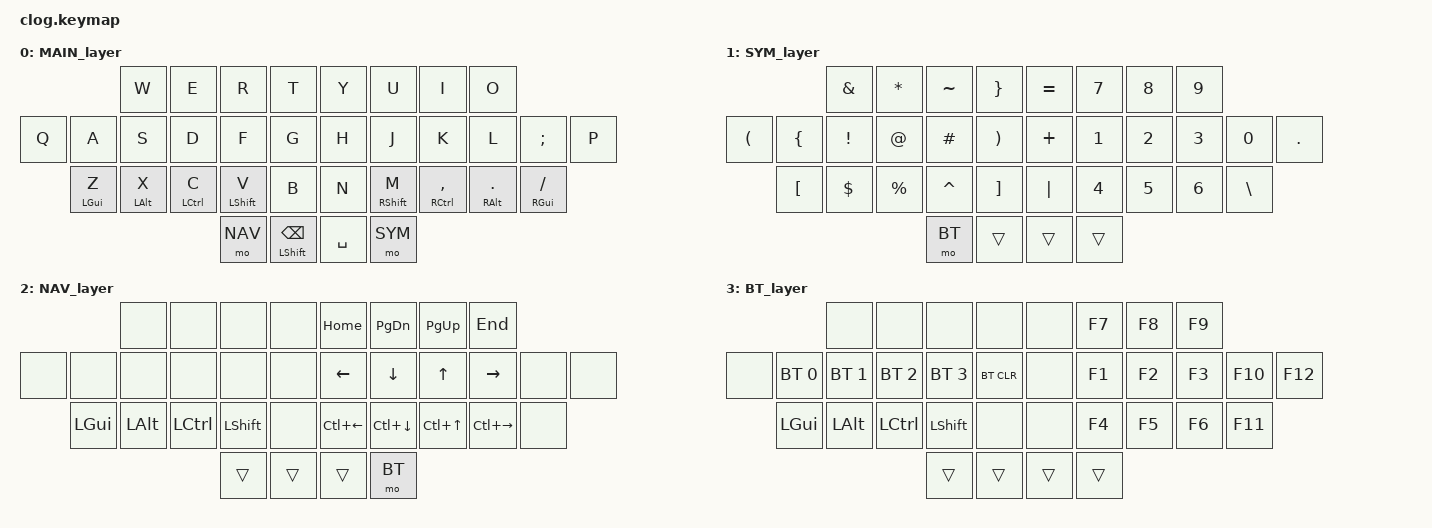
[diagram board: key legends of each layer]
/*
* Copyright (c) 2022 The ZMK Contributors
*
* SPDX-License-Identifier: MIT
*/

#include <behaviors.dtsi>
#include <dt-bindings/zmk/keys.h>
#include <dt-bindings/zmk/bt.h>

#define MAIN 0
#define SYM 1
#define NAV 2
#define BT 3

&mt {
    flavor = "tap-preferred";
    tapping-term-ms = <140>;
};
/ {
    combos {
        compatible = "zmk,combos";

        // LEFT CENTER ROW
        enter {
            timeout-ms = <40>;
            key-positions = <11 12>;
            bindings = <&kp ENTER>;
        };
        esc {
            timeout-ms = <40>;
            key-positions = <10 12>;
            bindings = <&kp ESC>;
        };
        tab {
            timeout-ms = <40>;
            key-positions = <10 11>;
            bindings = <&kp TAB>;
        };
        del {
            timeout-ms = <40>;
            key-positions = <10 11 12>;
            bindings = <&kp ESC>;
        };


        // RIGHT CENTER ROW
        dash {
            timeout-ms = <40>;
            key-positions = <15 16>;
            bindings = <&kp MINUS>;
        };
        underscore {
            timeout-ms = <40>;
            key-positions = <15 17>;
            bindings = <&kp UNDERSCORE>;
        };
        backspace {
            timeout-ms = <40>;
            key-positions = <15 16 17>;
            bindings = <&kp BACKSPACE>;
        };

        single_quote {
            timeout-ms = <40>;
            key-positions = <17 18>;
            bindings = <&kp SQT>;
        };
        double_quote {
            timeout-ms = <40>;
            key-positions = <16 18>;
            bindings = <&kp DQT>;
        };

        grave {
            timeout-ms = <40>;
            key-positions = <28 29>;
            bindings = <&kp GRAVE>;
        };

	// MOD COMBOS - 9 10 11 12 +31 activator
	// LEFT HAND
        l_gui {
            timeout-ms = <40>;
            key-positions = <9 31>;
            bindings = <&kp LGUI>;
        };
        l_alt {
            timeout-ms = <40>;
            key-positions = <10 31>;
            bindings = <&kp LALT>;
        };
        l_ctl {
            timeout-ms = <25>;
            key-positions = <11 31>;
            bindings = <&kp LCTRL>;
        };
        l_shift {
            timeout-ms = <40>;
            key-positions = <12 31>;
            bindings = <&kp LSHIFT>;
        };
	// 2 mod keys
        l_gui_alt {
            timeout-ms = <40>;
            key-positions = <9 10 31>;
            bindings = <&kp LG(LALT)>;
        };
        l_gui_ctl {
            timeout-ms = <40>;
            key-positions = <9 11 31>;
            bindings = <&kp LG(LCTRL)>;
        };
        l_gui_sft {
            timeout-ms = <40>;
            key-positions = <9 12 31>;
            bindings = <&kp LG(LSHIFT)>;
        };
        l_alt_ctl {
            timeout-ms = <40>;
            key-positions = <10 11 31>;
            bindings = <&kp LC(LALT)>;
        };
        l_alt_sft {
            timeout-ms = <40>;
            key-positions = <10 12 31>;
            bindings = <&kp LS(LALT)>;
        };
        l_ctl_sft {
            timeout-ms = <40>;
            key-positions = <11 12 31>;
            bindings = <&kp LC(LSHIFT)>;
        };
	// 3 mod keys
        l_alt_ctl_sft {
            timeout-ms = <40>;
            key-positions = <10 11 12 31>;
            bindings = <&kp LS(LC(LALT))>;
        };
        l_gui_ctl_sft {
            timeout-ms = <40>;
            key-positions = <9 11 12 31>;
            bindings = <&kp LG(LC(LSHIFT))>;
        };
        l_gui_alt_ctl {
            timeout-ms = <40>;
            key-positions = <9 10 11 31>;
            bindings = <&kp LG(LC(LALT))>;
        };
	// 4 mod keys
        l_gui_alt_ctl_sft {
            timeout-ms = <40>;
            key-positions = <9 10 11 12 31>;
            bindings = <&kp LG(LS(LC(LALT)))>;
        };

	// RIGHT HAND - 15 16 17 18 +32 activator
        r_gui {
            timeout-ms = <40>;
            key-positions = <18 32>;
            bindings = <&kp LGUI>;
        };
        r_alt {
            timeout-ms = <40>;
            key-positions = <17 32>;
            bindings = <&kp LALT>;
        };
        r_ctl {
            timeout-ms = <40>;
            key-positions = <16 32>;
            bindings = <&kp LCTRL>;
        };
        r_shift {
            timeout-ms = <40>;
            key-positions = <15 32>;
            bindings = <&kp LSHIFT>;
        };
	// 2 mod keys
        r_gui_alt {
            timeout-ms = <40>;
            key-positions = <17 18 32>;
            bindings = <&kp LG(LALT)>;
        };
        r_gui_ctl {
            timeout-ms = <40>;
            key-positions = <16 18 32>;
            bindings = <&kp LG(LCTRL)>;
        };
        r_gui_sft {
            timeout-ms = <40>;
            key-positions = <15 18 32>;
            bindings = <&kp LG(LSHIFT)>;
        };
        r_alt_ctl {
            timeout-ms = <40>;
            key-positions = <16 17 32>;
            bindings = <&kp LC(LALT)>;
        };
        r_alt_sft {
            timeout-ms = <40>;
            key-positions = <15 17 32>;
            bindings = <&kp LS(LALT)>;
        };
        r_ctl_sft {
            timeout-ms = <40>;
            key-positions = <15 16 32>;
            bindings = <&kp LC(LSHIFT)>;
        };
	// 3 mod keys
        r_alt_ctl_sft {
            timeout-ms = <40>;
            key-positions = <16 17 18 32>;
            bindings = <&kp LS(LC(LALT))>;
        };
        r_gui_ctl_sft {
            timeout-ms = <40>;
            key-positions = <15 16 18 32>;
            bindings = <&kp LG(LC(LSHIFT))>;
        };
        r_gui_alt_ctl {
            timeout-ms = <40>;
            key-positions = <15 17 18 32>;
            bindings = <&kp LG(LC(LALT))>;
        };
	// 4 mod keys
        r_gui_alt_ctl_sft {
            timeout-ms = <40>;
            key-positions = <15 16 17 18 32>;
            bindings = <&kp LG(LS(LC(LALT)))>;
        };


/* combo key-positions:
*        0  1  2  3    4  5  6  7
* 8  9  10 11 12 13   14 15 16 17 18 19
*    20 21 22 23 24   25 26 27 28 29
*             30 31   32 33           */
    };

    keymap {
        compatible = "zmk,keymap";

        MAIN_layer {
            bindings = <
                            &kp W      &kp E       &kp R        &kp T                &kp Y     &kp U        &kp I           &kp O
        &kp Q   &kp A       &kp S      &kp D       &kp F        &kp G                &kp H     &kp J        &kp K           &kp L        &kp SEMI       &kp P
                &mt LGUI Z  &mt LALT X &mt LCTRL C &mt LSHIFT V &kp B                &kp N     &mt RSHIFT M &mt RCTRL COMMA &mt RALT DOT &mt RGUI FSLH
                                                   &mo NAV      &mt LSHIFT BSPC  &kp SPACE &mo SYM
            >;
        };
        SYM_layer {
            bindings = <
                         &kp AMPS  &kp STAR   &kp TILDE  &kp RBRC                  &kp EQUAL  &kp N7 &kp N8 &kp N9 
      &kp LPAR &kp LBRC  &kp EXCL  &kp AT     &kp HASH   &kp RPAR                  &kp PLUS   &kp N1 &kp N2 &kp N3 &kp N0   &kp DOT
               &kp LBKT  &kp DLLR  &kp PRCNT  &kp CARET  &kp RBKT                  &kp PIPE   &kp N4 &kp N5 &kp N6 &kp BSLH 
                                                          &mo BT &trans       &trans &trans
            >;
        };
        NAV_layer {
            bindings = <
                            &none       &none     &none      &none               &kp HOME     &kp PG_DN    &kp PG_UP  &kp END                    
          &none    &none    &none       &none     &none      &none               &kp LEFT     &kp DOWN     &kp UP     &kp RIGHT     &none &none  
                   &kp LGUI &kp LALT    &kp LCTRL &kp LSHIFT &none               &kp LC(LEFT) &kp LC(DOWN) &kp LC(UP) &kp LC(RIGHT) &none        
                                                     &trans      &trans        &trans    &mo BT
            >;
        };
        BT_layer {
            bindings = <
                             &none        &none        &none        &none                &none  &kp F7  &kp F8 &kp F9
          &none &bt BT_SEL 0 &bt BT_SEL 1 &bt BT_SEL 2 &bt BT_SEL 3 &bt BT_CLR           &none  &kp F1  &kp F2 &kp F3 &kp F10 &kp F12
                &kp LGUI     &kp LALT     &kp LCTRL    &kp LSHIFT   &none                &none  &kp F4  &kp F5 &kp F6 &kp F11
                                                           &trans      &trans        &trans    &trans
            >;
        };
    };
};
